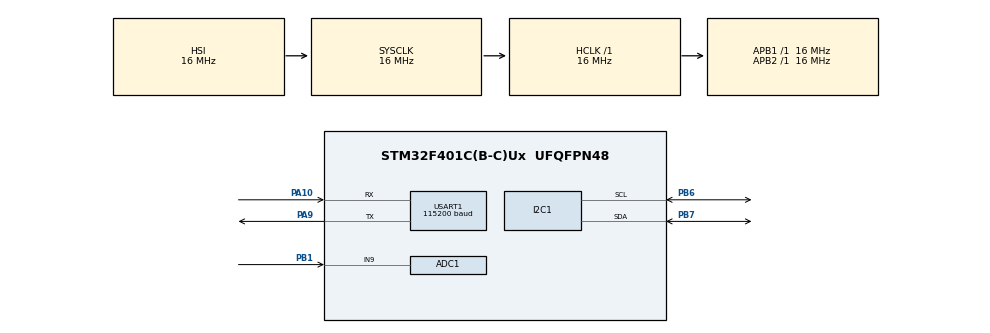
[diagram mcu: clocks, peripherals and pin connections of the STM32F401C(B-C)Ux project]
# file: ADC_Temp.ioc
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ADC1.Channel-0\#ChannelRegularConversion=ADC_CHANNEL_9
ADC1.ContinuousConvMode=ENABLE
ADC1.NbrOfConversionFlag=1
ADC1.Rank-0\#ChannelRegularConversion=1
ADC1.SamplingTime-0\#ChannelRegularConversion=ADC_SAMPLETIME_3CYCLES
ADC1.master=1
I2C1.I2C_Mode=I2C_Fast
Mcu.Family=STM32F4
Mcu.Name=STM32F401C(B-C)Ux
Mcu.Package=UFQFPN48
NVIC.PriorityGroup=NVIC_PRIORITYGROUP_4
PA10.Mode=Asynchronous
PA10.Signal=USART1_RX
PA13.Mode=Serial_Wire
PA13.Signal=SYS_JTMS-SWDIO
PA14.Mode=Serial_Wire
PA14.Signal=SYS_JTCK-SWCLK
PA9.Mode=Asynchronous
PA9.Signal=USART1_TX
PB1.Signal=ADCx_IN9
PB6.Mode=I2C
PB6.Signal=I2C1_SCL
PB7.Mode=I2C
PB7.Signal=I2C1_SDA
ProjectManager.HeapSize=0x200
ProjectManager.StackSize=0x400
ProjectManager.TargetToolchain=STM32CubeIDE
RCC.AHBFreq_Value=16000000
RCC.APB1Freq_Value=16000000
RCC.APB2Freq_Value=16000000
RCC.CortexFreq_Value=16000000
RCC.HSE_VALUE=25000000
RCC.HSI_VALUE=16000000
RCC.LSE_VALUE=32768
RCC.SYSCLKFreq_VALUE=16000000
RCC.VCOOutputFreq_Value=192000000
SH.ADCx_IN9.0=ADC1_IN9,IN9
USART1.BaudRate=115200
USART1.VirtualMode=VM_ASYNC
board=custom

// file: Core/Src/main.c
/* USER CODE BEGIN Header */
/**
  ******************************************************************************
  * @file           : main.c
  * @brief          : Main program body
  ******************************************************************************
  * @attention
  *
  * Copyright (c) 2024 STMicroelectronics.
  * All rights reserved.
  *
  * This software is licensed under terms that can be found in the LICENSE file
  * in the root directory of this software component.
  * If no LICENSE file comes with this software, it is provided AS-IS.
  *
  ******************************************************************************
  */
/* USER CODE END Header */
#include "main.h"

/* USER CODE BEGIN Includes */
#include "fonts.h"
#include "ssd1306.h"
#include <stdio.h>
/* USER CODE END Includes */

ADC_HandleTypeDef hadc1;

I2C_HandleTypeDef hi2c1;

UART_HandleTypeDef huart1;

void SystemClock_Config(void);
static void MX_GPIO_Init(void);
static void MX_ADC1_Init(void);
static void MX_I2C1_Init(void);
static void MX_USART1_UART_Init(void);

int main(void)
{

  /* MCU Configuration--------------------------------------------------------*/

  /* Reset of all peripherals, Initializes the Flash interface and the Systick. */
  HAL_Init();

  /* Configure the system clock */
  SystemClock_Config();

  /* Initialize all configured peripherals */
  MX_GPIO_Init();
  MX_ADC1_Init();
  MX_I2C1_Init();
  MX_USART1_UART_Init();
  /* USER CODE BEGIN 2 */
  SSD1306_Init();
  SSD1306_Clear();
  SSD1306_GotoXY(35, 0);
  SSD1306_Puts("TEMP", &Font_11x18, 1);
  SSD1306_UpdateScreen();

  /* USER CODE END 2 */

  /* Infinite loop */
  /* USER CODE BEGIN WHILE */
  while (1)
  {

	  HAL_ADC_Start(&hadc1);
	  HAL_ADC_PollForConversion(&hadc1,20);

	  float temperature = HAL_ADC_GetValue(&hadc1);
	  // maths here
	  char snum[10];  // Ensure the buffer is large enough to hold the formatted string
	  snprintf(snum, sizeof(snum), "%.2f ", temperature); // Format the float to a string with 2 decimal places

	 SSD1306_GotoXY(20, 20);
	 SSD1306_Puts (snum, &Font_11x18, 1);
	 SSD1306_UpdateScreen();
	 HAL_UART_Transmit(&huart1, snum, 6, 1000);
	 HAL_UART_Transmit(&huart1, "\n", 1, 1000);
	 HAL_Delay (500);

    /* USER CODE END WHILE */

  }
}

void SystemClock_Config(void)
{
  RCC_OscInitTypeDef RCC_OscInitStruct = {0};
  RCC_ClkInitTypeDef RCC_ClkInitStruct = {0};

  /** Configure the main internal regulator output voltage
  */
  __HAL_RCC_PWR_CLK_ENABLE();
  __HAL_PWR_VOLTAGESCALING_CONFIG(PWR_REGULATOR_VOLTAGE_SCALE2);

  /** Initializes the RCC Oscillators according to the specified parameters
  * in the RCC_OscInitTypeDef structure.
  */
  RCC_OscInitStruct.OscillatorType = RCC_OSCILLATORTYPE_HSI;
  RCC_OscInitStruct.HSIState = RCC_HSI_ON;
  RCC_OscInitStruct.HSICalibrationValue = RCC_HSICALIBRATION_DEFAULT;
  RCC_OscInitStruct.PLL.PLLState = RCC_PLL_NONE;
  if (HAL_RCC_OscConfig(&RCC_OscInitStruct) != HAL_OK)
  {
    Error_Handler();
  }

  /** Initializes the CPU, AHB and APB buses clocks
  */
  RCC_ClkInitStruct.ClockType = RCC_CLOCKTYPE_HCLK|RCC_CLOCKTYPE_SYSCLK
                              |RCC_CLOCKTYPE_PCLK1|RCC_CLOCKTYPE_PCLK2;
  RCC_ClkInitStruct.SYSCLKSource = RCC_SYSCLKSOURCE_HSI;
  RCC_ClkInitStruct.AHBCLKDivider = RCC_SYSCLK_DIV1;
  RCC_ClkInitStruct.APB1CLKDivider = RCC_HCLK_DIV1;
  RCC_ClkInitStruct.APB2CLKDivider = RCC_HCLK_DIV1;

  if (HAL_RCC_ClockConfig(&RCC_ClkInitStruct, FLASH_LATENCY_0) != HAL_OK)
  {
    Error_Handler();
  }
}

static void MX_ADC1_Init(void)
{

  ADC_ChannelConfTypeDef sConfig = {0};

  /** Configure the global features of the ADC (Clock, Resolution, Data Alignment and number of conversion)
  */
  hadc1.Instance = ADC1;
  hadc1.Init.ClockPrescaler = ADC_CLOCK_SYNC_PCLK_DIV2;
  hadc1.Init.Resolution = ADC_RESOLUTION_12B;
  hadc1.Init.ScanConvMode = DISABLE;
  hadc1.Init.ContinuousConvMode = ENABLE;
  hadc1.Init.DiscontinuousConvMode = DISABLE;
  hadc1.Init.ExternalTrigConvEdge = ADC_EXTERNALTRIGCONVEDGE_NONE;
  hadc1.Init.ExternalTrigConv = ADC_SOFTWARE_START;
  hadc1.Init.DataAlign = ADC_DATAALIGN_RIGHT;
  hadc1.Init.NbrOfConversion = 1;
  hadc1.Init.DMAContinuousRequests = DISABLE;
  hadc1.Init.EOCSelection = ADC_EOC_SINGLE_CONV;
  if (HAL_ADC_Init(&hadc1) != HAL_OK)
  {
    Error_Handler();
  }

  /** Configure for the selected ADC regular channel its corresponding rank in the sequencer and its sample time.
  */
  sConfig.Channel = ADC_CHANNEL_9;
  sConfig.Rank = 1;
  sConfig.SamplingTime = ADC_SAMPLETIME_3CYCLES;
  if (HAL_ADC_ConfigChannel(&hadc1, &sConfig) != HAL_OK)
  {
    Error_Handler();
  }

}

static void MX_I2C1_Init(void)
{

  hi2c1.Instance = I2C1;
  hi2c1.Init.ClockSpeed = 400000;
  hi2c1.Init.DutyCycle = I2C_DUTYCYCLE_2;
  hi2c1.Init.OwnAddress1 = 0;
  hi2c1.Init.AddressingMode = I2C_ADDRESSINGMODE_7BIT;
  hi2c1.Init.DualAddressMode = I2C_DUALADDRESS_DISABLE;
  hi2c1.Init.OwnAddress2 = 0;
  hi2c1.Init.GeneralCallMode = I2C_GENERALCALL_DISABLE;
  hi2c1.Init.NoStretchMode = I2C_NOSTRETCH_DISABLE;
  if (HAL_I2C_Init(&hi2c1) != HAL_OK)
  {
    Error_Handler();
  }

}

static void MX_USART1_UART_Init(void)
{

  huart1.Instance = USART1;
  huart1.Init.BaudRate = 115200;
  huart1.Init.WordLength = UART_WORDLENGTH_8B;
  huart1.Init.StopBits = UART_STOPBITS_1;
  huart1.Init.Parity = UART_PARITY_NONE;
  huart1.Init.Mode = UART_MODE_TX_RX;
  huart1.Init.HwFlowCtl = UART_HWCONTROL_NONE;
  huart1.Init.OverSampling = UART_OVERSAMPLING_16;
  if (HAL_UART_Init(&huart1) != HAL_OK)
  {
    Error_Handler();
  }

}

static void MX_GPIO_Init(void)
{

  /* GPIO Ports Clock Enable */
  __HAL_RCC_GPIOB_CLK_ENABLE();
  __HAL_RCC_GPIOA_CLK_ENABLE();

}

void Error_Handler(void)
{
  __disable_irq();
  while (1)
  {
  }
}
